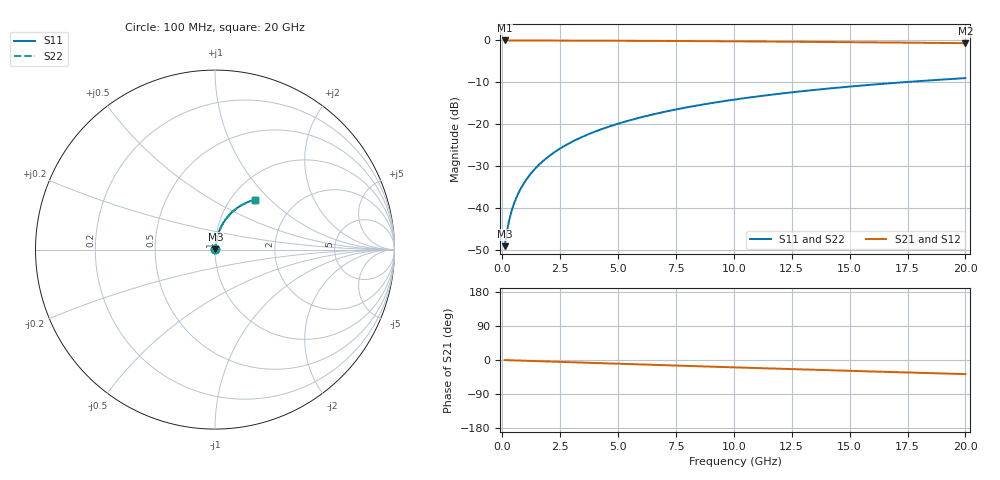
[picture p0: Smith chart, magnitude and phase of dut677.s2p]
! Touchstone file exported from HFSS 2026.1.0
!  File:  C:/ffzhzh/LocalFiles/Ansys_Project_Files/temp_train_BSMRDL_677_1783017439_46388.aedt
!  Generated:  02:38:48 AM Jul  3, 2026
!  Design:  BSMRDL
!  Project:  temp_train_BSMRDL_677_1783017439_46388
! Variables:
!  h_bsmrdl = 2.78um
!  h_ox = 20um
!  h_rdl = 5um
!  h_sub = 80um
!  h_tmrdl = 5um
!  h_tsv = 80um
!  h_via = 3um
!  l_bsmrdl = 511.47um
!  l_sub = 911.47um
!  l_tmrdl = 200um
!  m_sub = 200um
!  pitch = 57.01um
!  r_tsv = 6um
!  s_tmrdl = 10um
!  w_bsmrdl = 26.83um
!  w_sub = 500um
!  w_tmrdl = 12um
!  x_tsv_center1 = 206um
!  x_tsv_center2 = 744.3um
!  x_tsv_center3 = 956.3um
!  x_tsv_center4 = 1494.6um
!  x_tsv_center5 = 1706.6um
!  x_tsv_center6 = 2244.9um
# GHz S MA R 50.000000
! Terminal data exported
! Port[1] = BSM_RDL1_1_T1
! Port[2] = BSM_RDL1_1_T2
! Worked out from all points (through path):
!   200 points, 100 MHz to 20 GHz, reference 50 ohm
!   highest |S21| = -0.02 dB at 100 MHz (marker M1); lowest = -0.7 dB at 20 GHz (marker M2)
!   group delay of S21, straight-line fit = 5.18 ps
!   lowest |S11| = -49.0 dB at 100 MHz (marker M3), VSWR 1.01, Z = 50.3 + j0.227 ohm
!   |S11| at or under -10 dB: start of sweep to 17.25 GHz
!   |S22| runs from -49.0 to -9.0 dB; largest |S21 - S12| = 2.6e-15
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0.1  0.003547 39.6  0.9973 -0.2  0.9973 -0.2  0.003547 39.6
! Gamma 0 0 0 0
! Port Impedance 50 0 50 0
0.2  0.005315 57.2  0.9971 -0.4  0.9971 -0.4  0.005315 57.2
0.3  0.007278 65.1  0.997 -0.6  0.997 -0.6  0.007278 65.1
0.4  0.009269 69.5  0.9968 -0.8  0.9968 -0.8  0.009269 69.5
0.5  0.01126 72.3  0.9967 -1.0  0.9967 -1.0  0.01126 72.3
0.6  0.01325 74.3  0.9966 -1.2  0.9966 -1.2  0.01325 74.3
0.8  0.01723 76.8  0.9964 -1.6  0.9964 -1.6  0.01723 76.8
1.1  0.02325 79.0  0.9962 -2.2  0.9962 -2.2  0.02325 79.0
1.3  0.02729 79.8  0.996 -2.6  0.996 -2.6  0.02729 79.8
1.6  0.03336 80.5  0.9958 -3.2  0.9958 -3.2  0.03336 80.5
2.1  0.04351 80.8  0.9953 -4.2  0.9953 -4.2  0.04351 80.8
2.7  0.05569 80.6  0.9945 -5.4  0.9945 -5.4  0.05569 80.6
3.5  0.07186 79.8  0.9933 -6.9  0.9933 -6.9  0.07186 79.8
4.2  0.08592 78.8  0.992 -8.3  0.992 -8.3  0.08592 78.8
5  0.1018 77.6  0.9903 -9.9  0.9903 -9.9  0.1018 77.6
5.9  0.1196 76.1  0.988 -11.6  0.988 -11.6  0.1196 76.1
6.8  0.137 74.5  0.9854 -13.3  0.9854 -13.3  0.137 74.5
8.3  0.1655 71.8  0.9805 -16.2  0.9805 -16.2  0.1655 71.8
10.1  0.1986 68.6  0.9737 -19.6  0.9737 -19.6  0.1986 68.5
13.4  0.2557 62.7  0.9593 -25.7  0.9593 -25.7  0.2558 62.7
16.7  0.308 57.0  0.9432 -31.6  0.9432 -31.6  0.308 56.9
20  0.3551 51.4  0.9261 -37.2  0.9261 -37.2  0.3551 51.4
